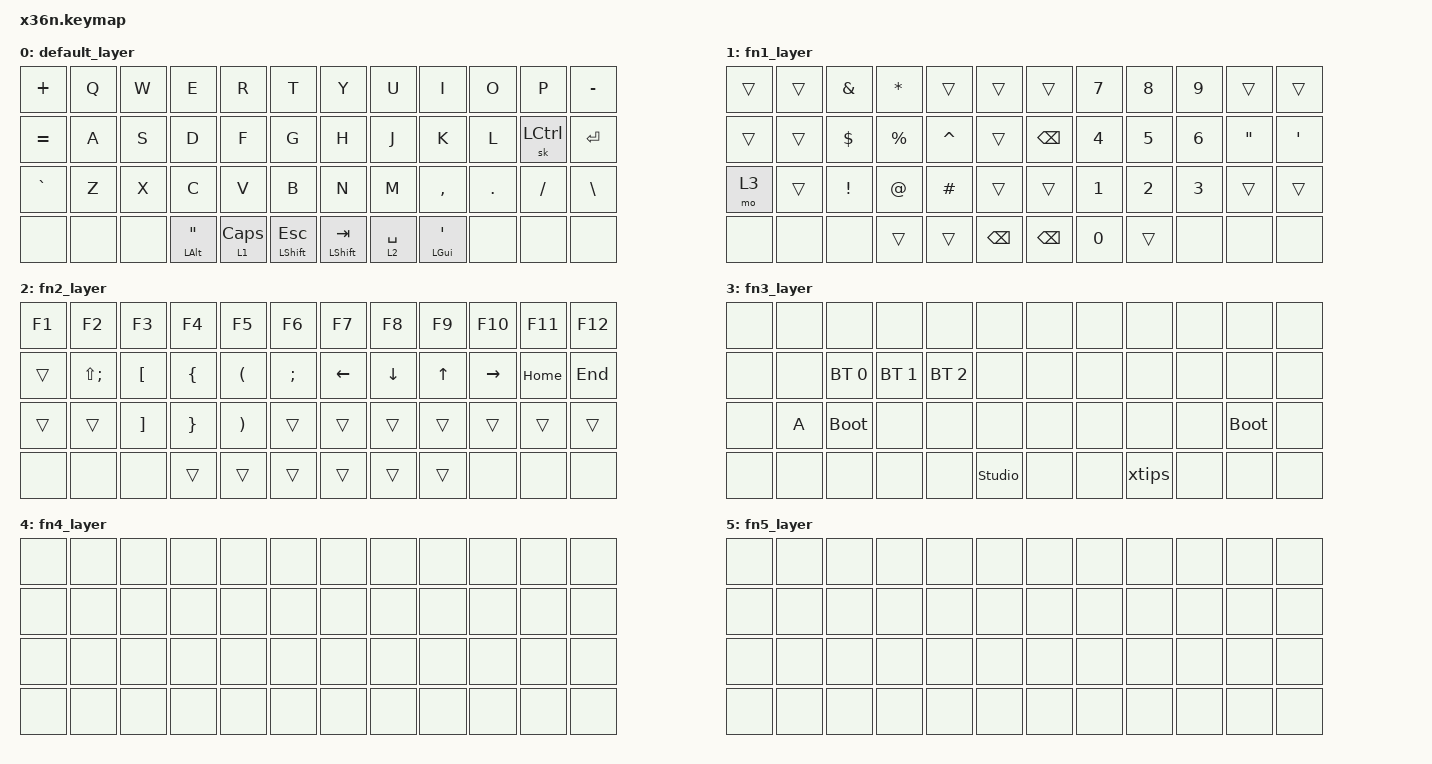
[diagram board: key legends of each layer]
#include <behaviors.dtsi>
#include <dt-bindings/zmk/keys.h>
#include <dt-bindings/zmk/bt.h>
#include <dt-bindings/zmk/outputs.h>
#include <dt-bindings/zmk/ext_power.h>
#include <dt-bindings/zmk/mouse.h>

/ {
    macros {
        xtips: xtips {
            compatible = "zmk,behavior-macro";
            #binding-cells = <0>;
            bindings = <&kp LS(X) &kp DOT &kp LS(T) &kp I &kp P &kp S>;
            wait-ms = <1>;
            tap-ms = <1>;
        };
    };

    keymap {
        compatible = "zmk,keymap";

        default_layer {
            bindings = <
            &kp PLUS  &kp Q  &kp W  &kp E        &kp R      &kp T         &kp Y         &kp U       &kp I        &kp O    &kp P      &kp MINUS
            &kp EQUAL &kp A  &kp S  &kp D        &kp F      &kp G         &kp H         &kp J       &kp K        &kp L    &sk LCTRL  &kp ENTER
            &kp GRAVE &kp Z  &kp X  &kp C        &kp V      &kp B         &kp N         &kp M       &kp COMMA    &kp DOT  &kp SLASH  &kp BSLH
            &none     &none  &none  &mt LALT DQT &lt 1 CAPS &mt LSHFT ESC &mt LSHFT TAB &lt 2 SPACE &mt LGUI SQT &none    &none      &none
            >;
        };

        fn1_layer {
            bindings = <
            &trans  &trans &kp AMPS &kp ASTRK &trans    &trans   &trans   &kp N7 &kp N8 &kp N9 &trans &trans
            &trans  &trans &kp DLLR &kp PRCNT &kp CARET &trans   &kp BSPC &kp N4 &kp N5 &kp N6 &kp DQT  &kp SQT
            &mo 3   &trans &kp EXCL &kp AT    &kp HASH  &trans   &trans   &kp N1 &kp N2 &kp N3 &trans &trans
            &none   &none  &none    &trans    &trans    &kp BSPC &kp BSPC &kp N0 &trans &none  &none  &none
            >;
        };

        fn2_layer {
            bindings = <
            &kp F1 &kp F2       &kp F3    &kp F4    &kp F5   &kp F6   &kp F7   &kp F8   &kp F9  &kp F10   &kp F11  &kp F12
            &trans &kp LS(SEMI) &kp LBKT  &kp LBRC  &kp LPAR &kp SEMI &kp LEFT &kp DOWN &kp UP  &kp RIGHT &kp HOME &kp END
            &trans &trans       &kp RBKT  &kp RBRC  &kp RPAR &trans   &trans   &trans   &trans  &trans    &trans   &trans
            &none  &none        &none     &trans    &trans   &trans   &trans   &trans   &trans  &none     &none    &none
            >;
        };

        fn3_layer {
            bindings = <
            &none &none &none        &none        &none        &none          &none  &none  &none  &none  &none       &none
            &none &none &bt BT_SEL 0 &bt BT_SEL 1 &bt BT_SEL 2 &none          &none  &none  &none  &none  &none       &none
            &none &kp A &bootloader  &none        &none        &none          &none  &none  &none  &none  &bootloader &none
            &none &none &none        &none        &none        &studio_unlock &none  &none  &xtips &none  &none       &none
            >;
        };

        fn4_layer {
            bindings = <
            &none &none &none &none &none &none &none &none &none &none &none &none
            &none &none &none &none &none &none &none &none &none &none &none &none
            &none &none &none &none &none &none &none &none &none &none &none &none
            &none &none &none &none &none &none &none &none &none &none &none &none
            >;
        };

        fn5_layer {
            bindings = <
            &none &none &none &none &none &none &none &none &none &none &none &none
            &none &none &none &none &none &none &none &none &none &none &none &none
            &none &none &none &none &none &none &none &none &none &none &none &none
            &none &none &none &none &none &none &none &none &none &none &none &none
            >;
        };
    };
};
